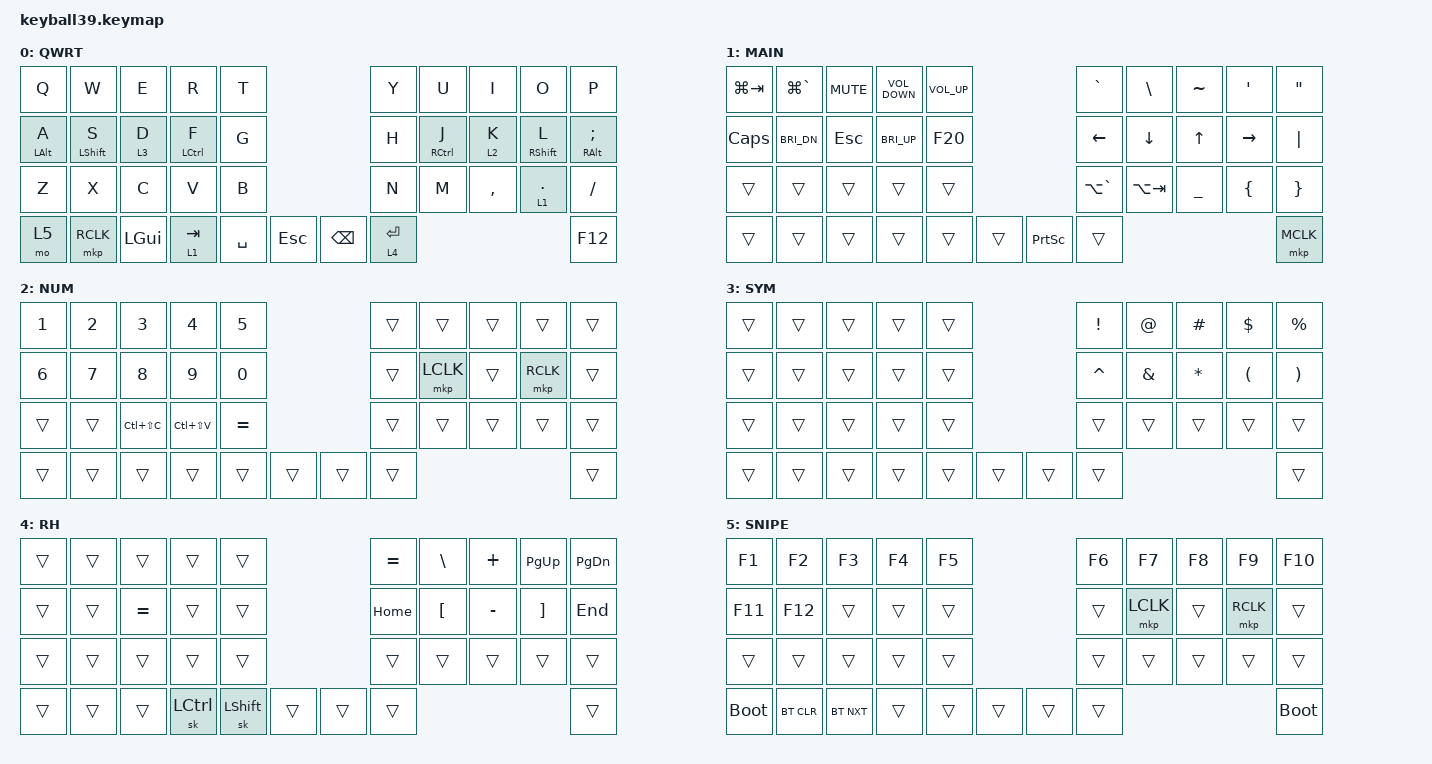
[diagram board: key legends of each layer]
#define DEFAULT 0
#define SCROLL  1
#define SNIPE   2
#define SN      3
#define MOUSE   4

#include <behaviors/mouse_keys.dtsi>
#include <dt-bindings/zmk/mouse.h>
#include <behaviors.dtsi>
#include <dt-bindings/zmk/bt.h>
#include <dt-bindings/zmk/keys.h>
#include <dt-bindings/zmk/pointing.h>

&lt {
    tapping-term-ms = <240>;
    flavor = "balanced";
    quick-tap-ms = <150>;
};

&mt {
    tapping-term-ms = <200>;
    flavor = "tap-preferred";
    quick-tap-ms = <150>;
};

/ {
    combos { compatible = "zmk,combos"; };

    keymap {
        compatible = "zmk,keymap";

        default_layer {
            label = "QWRT";
            bindings = <
&kp Q           &kp W         &kp E     &kp R        &kp T                              &kp Y        &kp U        &kp I      &kp O              &kp P
&mt LEFT_ALT A  &mt LSHIFT S  &lt 3 D   &mt LCTRL F  &kp G                              &kp H        &mt RCTRL J  &lt 2 K    &mt RIGHT_SHIFT L  &mt RIGHT_ALT SEMI
&kp Z           &kp X         &kp C     &kp V        &kp B                              &kp N        &kp M        &kp COMMA  &lt 1 PERIOD       &kp SLASH
&mo 5           &mkp RCLK     &kp LGUI  &lt 1 TAB    &kp SPACE  &kp ESC  &kp BACKSPACE  &lt 4 ENTER                                             &kp F12
            >;
        };

        MAIN {
            label = "MAIN";
            bindings = <
&kp LG(TAB)  &kp LG(GRAVE)  &kp C_MUTE  &kp C_VOLUME_DOWN  &kp C_VOL_UP                           &kp GRAVE      &kp BACKSLASH  &kp TILDE       &kp SQT         &kp DOUBLE_QUOTES
&kp CAPS     &kp C_BRI_DN   &kp ESC     &kp C_BRI_UP       &kp F20                                &kp LEFT       &kp DOWN       &kp UP          &kp RIGHT       &kp PIPE
&trans       &trans         &trans      &trans             &trans                                 &kp LA(GRAVE)  &kp LA(TAB)    &kp UNDERSCORE  &kp LEFT_BRACE  &kp RIGHT_BRACE
&trans       &trans         &trans      &trans             &trans        &trans  &kp PRINTSCREEN  &trans                                                        &mkp MCLK
            >;
        };

        NUM {
            bindings = <
&kp N1  &kp N2  &kp N3         &kp N4         &kp N5                     &trans  &trans     &trans  &trans     &trans
&kp N6  &kp N7  &kp N8         &kp N9         &kp N0                     &trans  &mkp LCLK  &trans  &mkp RCLK  &trans
&trans  &trans  &kp LC(LS(C))  &kp LC(LS(V))  &kp EQUAL                  &trans  &trans     &trans  &trans     &trans
&trans  &trans  &trans         &trans         &trans     &trans  &trans  &trans                                &trans
            >;

            label = "NUM";
        };

        SYM {
            label = "SYM";
            bindings = <
&trans  &trans  &trans  &trans  &trans                  &kp EXCLAMATION  &kp AT_SIGN    &kp HASH      &kp DOLLAR            &kp PERCENT
&trans  &trans  &trans  &trans  &trans                  &kp CARET        &kp AMPERSAND  &kp ASTERISK  &kp LEFT_PARENTHESIS  &kp RIGHT_PARENTHESIS
&trans  &trans  &trans  &trans  &trans                  &trans           &trans         &trans        &trans                &trans
&trans  &trans  &trans  &trans  &trans  &trans  &trans  &trans                                                              &trans
            >;
        };

        RH {
            label = "RH";
            bindings = <
&trans  &trans  &trans     &trans     &trans                          &kp EQUAL  &kp BACKSLASH     &kp PLUS   &kp PAGE_UP        &kp PAGE_DOWN
&trans  &trans  &kp EQUAL  &trans     &trans                          &kp HOME   &kp LEFT_BRACKET  &kp MINUS  &kp RIGHT_BRACKET  &kp END
&trans  &trans  &trans     &trans     &trans                          &trans     &trans            &trans     &trans             &trans
&trans  &trans  &trans     &sk LCTRL  &sk LEFT_SHIFT  &trans  &trans  &trans                                                     &trans
            >;
        };

        SNIPE {
            label = "SNIPE";
            bindings = <
&kp F1       &kp F2      &kp F3      &kp F4  &kp F5                  &kp F6  &kp F7     &kp F8  &kp F9     &kp F10
&kp F11      &kp F12     &trans      &trans  &trans                  &trans  &mkp LCLK  &trans  &mkp RCLK  &trans
&trans       &trans      &trans      &trans  &trans                  &trans  &trans     &trans  &trans     &trans
&bootloader  &bt BT_CLR  &bt BT_NXT  &trans  &trans  &trans  &trans  &trans                                &bootloader
            >;
        };
    };
};
